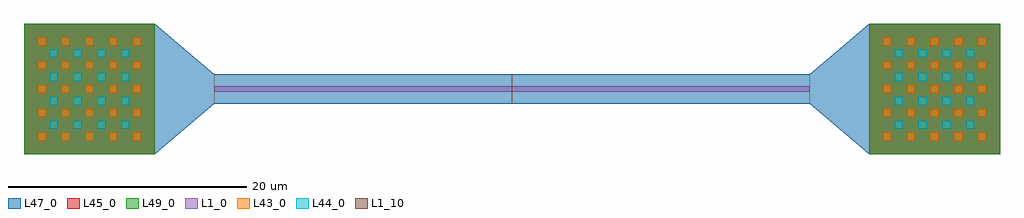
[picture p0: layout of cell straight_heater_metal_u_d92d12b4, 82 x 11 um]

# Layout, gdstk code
from math import pi, radians
import gdstk
lib = gdstk.Library(unit=1e-6, precision=1e-09)
def R(c, l, rs):  # rectangles x0, y0, x1, y1
    for r in rs: c.add(gdstk.rectangle(r[:2], r[2:], *l))
def P(c, l, *ps):  # polygons
    for p in ps: c.add(gdstk.Polygon(p, *l))
L1_0 = (1, 0)
L1_10 = (1, 10)
L43_0 = (43, 0)
L44_0 = (44, 0)
L45_0 = (45, 0)
L47_0 = (47, 0)
L49_0 = (49, 0)

straight_f539f25e = lib.new_cell('straight_f539f25e')
R(straight_f539f25e, L1_0, [(0,-0.25,25,0.25)])
R(straight_f539f25e, L1_10, [(0,-1.25,0.001,1.25), (24.999,-1.25,25,1.25), (0,-0.25,0.001,0.25), (24.999,-0.25,25,0.25)])
R(straight_f539f25e, L47_0, [(0,-1.25,25,1.25)])

component_sequence_69ca7 = lib.new_cell('component_sequence_69ca70ae')
component_sequence_69ca7.add(gdstk.Reference(straight_f539f25e, (0,0)))
component_sequence_69ca7.add(gdstk.Reference(straight_f539f25e, (25,0)))

compass_d8224c77 = lib.new_cell('compass_d8224c77')
R(compass_d8224c77, L47_0, [(-5.5,-5.5,5.5,5.5)])

compass_layerm2_size11p0 = lib.new_cell('compass_layerM2_size11p0__11p0')
R(compass_layerm2_size11p0, L45_0, [(-5.5,-5.5,5.5,5.5)])

compass_layerm3_size11p0 = lib.new_cell('compass_layerM3_size11p0__11p0')
R(compass_layerm3_size11p0, L49_0, [(-5.5,-5.5,5.5,5.5)])

via_enclosure2_layervia1 = lib.new_cell('via_enclosure2_layerVIA1')
R(via_enclosure2_layervia1, L44_0, [(-0.35,-0.35,0.35,0.35)])

via_layervia2 = lib.new_cell('via_layerVIA2')
R(via_layervia2, L43_0, [(-0.35,-0.35,0.35,0.35)])

via_stack_13a1ac5c = lib.new_cell('via_stack_13a1ac5c')
via_stack_13a1ac5c.add(gdstk.Reference(compass_d8224c77, (0,0)))
via_stack_13a1ac5c.add(gdstk.Reference(compass_layerm2_size11p0, (0,0)))
via_stack_13a1ac5c.add(gdstk.Reference(compass_layerm3_size11p0, (0,0)))
r = gdstk.Reference(via_enclosure2_layervia1, (-3,-3)); r.repetition = gdstk.Repetition(4, 4, v1=(2,0), v2=(0,2)); via_stack_13a1ac5c.add(r)
r = gdstk.Reference(via_layervia2, (-4,-4)); r.repetition = gdstk.Repetition(5, 5, v1=(2,0), v2=(0,2)); via_stack_13a1ac5c.add(r)

taper_c61b0b4d = lib.new_cell('taper_c61b0b4d')
P(taper_c61b0b4d, L47_0, [(0,5.5),(5,1.25),(5,-1.25),(0,-5.5)])

straight_heater_metal_u_ = lib.new_cell('straight_heater_metal_u_d92d12b4')
straight_heater_metal_u_.add(gdstk.Reference(component_sequence_69ca7, (0,0)))
straight_heater_metal_u_.add(gdstk.Reference(via_stack_13a1ac5c, (-10.5,0)))
straight_heater_metal_u_.add(gdstk.Reference(via_stack_13a1ac5c, (60.5,0)))
straight_heater_metal_u_.add(gdstk.Reference(taper_c61b0b4d, (-5,0)))
straight_heater_metal_u_.add(gdstk.Reference(taper_c61b0b4d, (55,0), rotation=pi))

lib.write_gds('straight_heater_metal_u_d92d12b4.gds')
